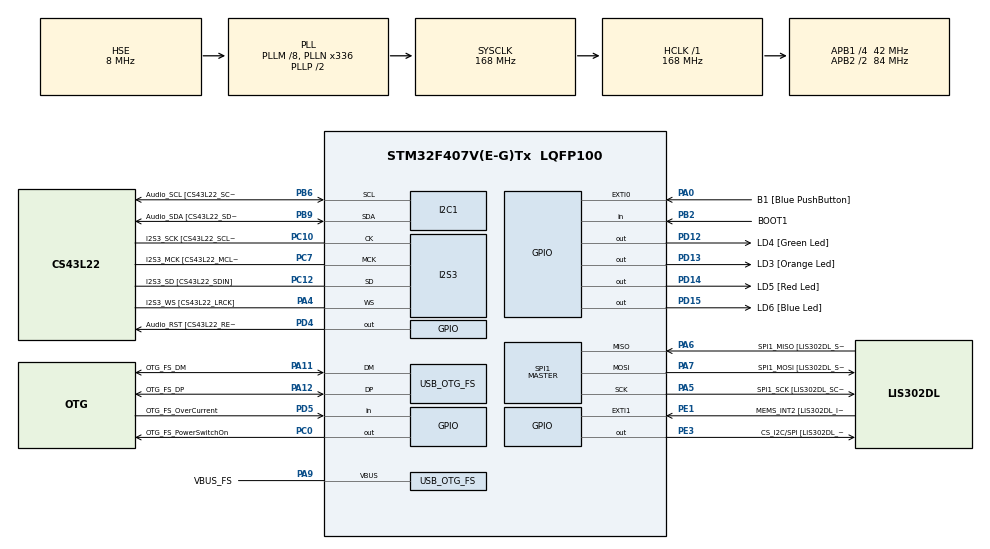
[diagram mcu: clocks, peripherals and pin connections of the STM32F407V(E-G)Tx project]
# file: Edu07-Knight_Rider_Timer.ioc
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I2S3.AudioFreq-Half_Duplex_Master=I2S_AUDIOFREQ_96K
I2S3.ErrorAudioFreq=-2.34 %
I2S3.ErrorAudioFreq-Half_Duplex_Master=0.8 %
I2S3.FullDuplexMode=I2S_FULLDUPLEXMODE_DISABLE
I2S3.Instance=SPI$Index
I2S3.RealAudioFreq=93.75 KHz
I2S3.RealAudioFreq-Half_Duplex_Master=96.774 KHz
I2S3.VirtualMode=I2S_MODE_MASTER
Mcu.Family=STM32F4
Mcu.Name=STM32F407V(E-G)Tx
Mcu.Package=LQFP100
NVIC.OTG_FS_IRQn=true\:0\:0\:false\:false\:true\:true\:true\:true
NVIC.PriorityGroup=NVIC_PRIORITYGROUP_0
NVIC.TIM1_UP_TIM10_IRQn=true\:0\:0\:false\:false\:true\:true\:true\:true
PA0-WKUP.GPIO_Label=B1 [Blue PushButton]
PA0-WKUP.GPIO_ModeDefaultEXTI=GPIO_MODE_EVT_RISING
PA0-WKUP.GPIO_PuPd=GPIO_NOPULL
PA0-WKUP.Signal=GPXTI0
PA10.GPIO_Label=OTG_FS_ID
PA10.GPIO_Mode=GPIO_MODE_AF_PP
PA10.GPIO_PuPd=GPIO_NOPULL
PA10.GPIO_Speed=GPIO_SPEED_FREQ_LOW
PA10.Signal=USB_OTG_FS_ID
PA11.GPIO_Label=OTG_FS_DM
PA11.GPIO_Mode=GPIO_MODE_AF_PP
PA11.GPIO_PuPd=GPIO_NOPULL
PA11.GPIO_Speed=GPIO_SPEED_FREQ_LOW
PA11.Mode=Host_Only
PA11.Signal=USB_OTG_FS_DM
PA12.GPIO_Label=OTG_FS_DP
PA12.GPIO_Mode=GPIO_MODE_AF_PP
PA12.GPIO_PuPd=GPIO_NOPULL
PA12.GPIO_Speed=GPIO_SPEED_FREQ_LOW
PA12.Mode=Host_Only
PA12.Signal=USB_OTG_FS_DP
PA13.GPIO_Label=SWDIO
PA13.Mode=Serial_Wire
PA13.Signal=SYS_JTMS-SWDIO
PA14.GPIO_Label=SWCLK
PA14.Mode=Serial_Wire
PA14.Signal=SYS_JTCK-SWCLK
PA4.GPIO_Label=I2S3_WS [CS43L22_LRCK]
PA4.GPIO_Mode=GPIO_MODE_AF_PP
PA4.GPIO_PuPd=GPIO_NOPULL
PA4.GPIO_Speed=GPIO_SPEED_FREQ_LOW
PA4.Mode=Half_Duplex_Master
PA4.Signal=I2S3_WS
PA5.GPIO_Label=SPI1_SCK [LIS302DL_SCL/SPC]
PA5.GPIO_Mode=GPIO_MODE_AF_PP
PA5.GPIO_PuPd=GPIO_NOPULL
PA5.GPIO_Speed=GPIO_SPEED_FREQ_LOW
PA5.Mode=Full_Duplex_Master
PA5.Signal=SPI1_SCK
PA6.GPIO_Label=SPI1_MISO [LIS302DL_SDO]
PA6.GPIO_Mode=GPIO_MODE_AF_PP
PA6.GPIO_PuPd=GPIO_NOPULL
PA6.GPIO_Speed=GPIO_SPEED_FREQ_LOW
PA6.Mode=Full_Duplex_Master
PA6.Signal=SPI1_MISO
PA7.GPIO_Label=SPI1_MOSI [LIS302DL_SDA/SDI/SDO]
PA7.GPIO_Mode=GPIO_MODE_AF_PP
PA7.GPIO_PuPd=GPIO_NOPULL
PA7.GPIO_Speed=GPIO_SPEED_FREQ_LOW
PA7.Mode=Full_Duplex_Master
PA7.Signal=SPI1_MOSI
PA9.GPIO_Label=VBUS_FS
PA9.GPIO_Mode=GPIO_MODE_INPUT
PA9.GPIO_PuPd=GPIO_NOPULL
PA9.Mode=Activate_VBUS
PA9.Signal=USB_OTG_FS_VBUS
PB10.GPIO_Label=CLK_IN [MP45DT02_CLK]
PB10.GPIO_Mode=GPIO_MODE_AF_PP
PB10.GPIO_PuPd=GPIO_NOPULL
PB10.GPIO_Speed=GPIO_SPEED_FREQ_LOW
PB10.Signal=I2S2_CK
PB2.GPIO_Label=BOOT1
PB2.GPIO_Mode=GPIO_MODE_INPUT
PB2.GPIO_PuPd=GPIO_NOPULL
PB2.Signal=GPIO_Input
PB3.GPIO_Label=SWO
PB3.Signal=SYS_JTDO-SWO
PB6.GPIO_Label=Audio_SCL [CS43L22_SCL]
PB6.GPIO_Mode=GPIO_MODE_AF_OD
PB6.GPIO_Pu=GPIO_PULLUP
PB6.GPIO_PuPd=GPIO_NOPULL
PB6.GPIO_Speed=GPIO_SPEED_FREQ_LOW
PB6.Mode=I2C
PB6.Signal=I2C1_SCL
PB9.GPIO_Label=Audio_SDA [CS43L22_SDA]
PB9.GPIO_Mode=GPIO_MODE_AF_OD
PB9.GPIO_Pu=GPIO_PULLUP
PB9.GPIO_PuPd=GPIO_NOPULL
PB9.GPIO_Speed=GPIO_SPEED_FREQ_LOW
PB9.Mode=I2C
PB9.Signal=I2C1_SDA
PC0.GPIO_Label=OTG_FS_PowerSwitchOn
PC0.GPIO_PuPd=GPIO_NOPULL
PC0.GPIO_Speed=GPIO_SPEED_FREQ_LOW
PC0.PinState=GPIO_PIN_SET
PC0.Signal=GPIO_Output
PC10.GPIO_Label=I2S3_SCK [CS43L22_SCLK]
PC10.GPIO_Mode=GPIO_MODE_AF_PP
PC10.GPIO_PuPd=GPIO_NOPULL
PC10.GPIO_Speed=GPIO_SPEED_FREQ_LOW
PC10.Mode=Half_Duplex_Master
PC10.Signal=I2S3_CK
PC12.GPIO_Label=I2S3_SD [CS43L22_SDIN]
PC12.GPIO_Mode=GPIO_MODE_AF_PP
PC12.GPIO_PuPd=GPIO_NOPULL
PC12.GPIO_Speed=GPIO_SPEED_FREQ_LOW
PC12.Mode=Half_Duplex_Master
PC12.Signal=I2S3_SD
PC14-OSC32_IN.GPIO_Label=PC14-OSC32_IN
PC14-OSC32_IN.Mode=LSE-External-Oscillator
PC14-OSC32_IN.Signal=RCC_OSC32_IN
PC15-OSC32_OUT.GPIO_Label=PC15-OSC32_OUT
PC15-OSC32_OUT.Mode=LSE-External-Oscillator
PC15-OSC32_OUT.Signal=RCC_OSC32_OUT
PC3.GPIO_Label=PDM_OUT [MP45DT02_DOUT]
PC3.GPIO_Mode=GPIO_MODE_AF_PP
PC3.GPIO_PuPd=GPIO_NOPULL
PC3.GPIO_Speed=GPIO_SPEED_FREQ_LOW
PC3.Signal=I2S2_SD
PC7.GPIO_Label=I2S3_MCK [CS43L22_MCLK]
PC7.GPIO_Mode=GPIO_MODE_AF_PP
PC7.GPIO_PuPd=GPIO_NOPULL
PC7.GPIO_Speed=GPIO_SPEED_FREQ_LOW
PC7.Mode=Master_Clock_Activated
PC7.Signal=I2S3_MCK
PD12.GPIO_Label=LD4 [Green Led]
PD12.GPIO_PuPd=GPIO_NOPULL
PD12.GPIO_Speed=GPIO_SPEED_FREQ_LOW
PD12.Signal=GPIO_Output
PD13.GPIO_Label=LD3 [Orange Led]
PD13.GPIO_PuPd=GPIO_NOPULL
PD13.GPIO_Speed=GPIO_SPEED_FREQ_LOW
PD13.Signal=GPIO_Output
PD14.GPIO_Label=LD5 [Red Led]
PD14.GPIO_PuPd=GPIO_NOPULL
PD14.GPIO_Speed=GPIO_SPEED_FREQ_LOW
PD14.Signal=GPIO_Output
PD15.GPIO_Label=LD6 [Blue Led]
PD15.GPIO_PuPd=GPIO_NOPULL
PD15.GPIO_Speed=GPIO_SPEED_FREQ_LOW
PD15.Signal=GPIO_Output
PD4.GPIO_Label=Audio_RST [CS43L22_RESET]
PD4.GPIO_PuPd=GPIO_NOPULL
PD4.GPIO_Speed=GPIO_SPEED_FREQ_LOW
PD4.Signal=GPIO_Output
PD5.GPIO_Label=OTG_FS_OverCurrent
PD5.GPIO_Mode=GPIO_MODE_INPUT
PD5.GPIO_PuPd=GPIO_NOPULL
PD5.Signal=GPIO_Input
PE1.GPIO_Label=MEMS_INT2 [LIS302DL_INT2]
PE1.GPIO_ModeDefaultEXTI=GPIO_MODE_EVT_RISING
PE1.GPIO_PuPd=GPIO_NOPULL
PE1.Signal=GPXTI1
PE3.GPIO_Label=CS_I2C/SPI [LIS302DL_CS_I2C/SPI]
PE3.GPIO_PuPd=GPIO_NOPULL
PE3.GPIO_Speed=GPIO_SPEED_FREQ_LOW
PE3.Signal=GPIO_Output
PH0-OSC_IN.GPIO_Label=PH0-OSC_IN
PH0-OSC_IN.Mode=HSE-External-Oscillator
PH0-OSC_IN.Signal=RCC_OSC_IN
PH1-OSC_OUT.GPIO_Label=PH1-OSC_OUT
PH1-OSC_OUT.Mode=HSE-External-Oscillator
PH1-OSC_OUT.Signal=RCC_OSC_OUT
ProjectManager.HeapSize=0x200
ProjectManager.StackSize=0x400
ProjectManager.TargetToolchain=STM32CubeIDE
RCC.48MHZClocksFreq_Value=48000000
RCC.AHBFreq_Value=168000000
RCC.APB1CLKDivider=RCC_HCLK_DIV4
RCC.APB1Freq_Value=42000000
RCC.APB1TimFreq_Value=84000000
RCC.APB2CLKDivider=RCC_HCLK_DIV2
RCC.APB2Freq_Value=84000000
RCC.APB2TimFreq_Value=168000000
RCC.CortexFreq_Value=168000000
RCC.HCLKFreq_Value=168000000
RCC.HSE_VALUE=8000000
RCC.HSI_VALUE=16000000
RCC.PLLM=8
RCC.PLLN=336
RCC.PLLQ=7
RCC.SYSCLKFreq_VALUE=168000000
RCC.SYSCLKSource=RCC_SYSCLKSOURCE_PLLCLK
RCC.VCOOutputFreq_Value=336000000
SPI1.BaudRatePrescaler-Full_Duplex_Master=SPI_BAUDRATEPRESCALER_2
SPI1.CalculateBaudRate-Full_Duplex_Master=42.0 MBits/s
SPI1.Direction=SPI_DIRECTION_2LINES
SPI1.Mode=SPI_MODE_MASTER
SPI1.Mode-Full_Duplex_Master=SPI_MODE_MASTER
SPI1.VirtualType=VM_MASTER
TIM1.Period=1999
TIM1.Prescaler=16799
USB_HOST.BSP.number=1
USB_HOST.USBH_HandleTypeDef-CDC_FS=hUsbHostFS
USB_HOST.VirtualModeFS=Cdc
USB_HOST0.BSP.STBoard=false
USB_HOST0.BSP.api=Unknown
USB_HOST0.BSP.instance=PC0
USB_HOST0.BSP.ip=GPIO
USB_HOST0.BSP.mode=Output
USB_HOST0.BSP.name=Drive_VBUS_FS
USB_HOST0.BSP.solution=PC0
USB_OTG_FS.VirtualMode=Host_Only
USB_OTG_FS.phy_itface=HCD_PHY_EMBEDDED
VP_TIM1_VS_ClockSourceINT.Mode=Internal
VP_USB_HOST_VS_USB_HOST_CDC_FS.Mode=CDC_FS
board=STM32F407G-DISC1

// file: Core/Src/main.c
/* USER CODE BEGIN Header */
/**
  ******************************************************************************
  * @file           : main.c
  * @brief          : Main program body
  ******************************************************************************
  * @attention
  *
  * Copyright (c) 2026 STMicroelectronics.
  * All rights reserved.
  *
  * This software is licensed under terms that can be found in the LICENSE file
  * in the root directory of this software component.
  * If no LICENSE file comes with this software, it is provided AS-IS.
  *
  ******************************************************************************
  */
/* USER CODE END Header */
#include "main.h"
#include "usb_host.h"

I2C_HandleTypeDef hi2c1;

I2S_HandleTypeDef hi2s3;

SPI_HandleTypeDef hspi1;

TIM_HandleTypeDef htim1;

/* USER CODE BEGIN PV */
uint16_t ledPins[4] = {
  GPIO_PIN_12,
  GPIO_PIN_13,
  GPIO_PIN_14,
  GPIO_PIN_15
};

volatile int8_t currentLedIndex = 0;
volatile int8_t ledDirection = 1;
volatile uint32_t knightRiderStepCount = 0;
/* USER CODE END PV */

void SystemClock_Config(void);
static void MX_GPIO_Init(void);
static void MX_I2C1_Init(void);
static void MX_I2S3_Init(void);
static void MX_SPI1_Init(void);
static void MX_TIM1_Init(void);
void MX_USB_HOST_Process(void);

int main(void)
{

  /* MCU Configuration--------------------------------------------------------*/

  /* Reset of all peripherals, Initializes the Flash interface and the Systick. */
  HAL_Init();

  /* Configure the system clock */
  SystemClock_Config();

  /* Initialize all configured peripherals */
  MX_GPIO_Init();
  MX_I2C1_Init();
  MX_I2S3_Init();
  MX_SPI1_Init();
  MX_USB_HOST_Init();
  MX_TIM1_Init();
  /* USER CODE BEGIN 2 */
  HAL_GPIO_WritePin(GPIOD, GPIO_PIN_12 | GPIO_PIN_13 | GPIO_PIN_14 | GPIO_PIN_15, GPIO_PIN_RESET);

  HAL_GPIO_WritePin(GPIOD, ledPins[currentLedIndex], GPIO_PIN_SET);

  if (HAL_TIM_Base_Start_IT(&htim1) != HAL_OK)
  {
    Error_Handler();
  }

  /* USER CODE END 2 */

  /* Infinite loop */
  while (1)
  {
    MX_USB_HOST_Process();

  }
}

void SystemClock_Config(void)
{
  RCC_OscInitTypeDef RCC_OscInitStruct = {0};
  RCC_ClkInitTypeDef RCC_ClkInitStruct = {0};

  /** Configure the main internal regulator output voltage
  */
  __HAL_RCC_PWR_CLK_ENABLE();
  __HAL_PWR_VOLTAGESCALING_CONFIG(PWR_REGULATOR_VOLTAGE_SCALE1);

  /** Initializes the RCC Oscillators according to the specified parameters
  * in the RCC_OscInitTypeDef structure.
  */
  RCC_OscInitStruct.OscillatorType = RCC_OSCILLATORTYPE_HSE;
  RCC_OscInitStruct.HSEState = RCC_HSE_ON;
  RCC_OscInitStruct.PLL.PLLState = RCC_PLL_ON;
  RCC_OscInitStruct.PLL.PLLSource = RCC_PLLSOURCE_HSE;
  RCC_OscInitStruct.PLL.PLLM = 8;
  RCC_OscInitStruct.PLL.PLLN = 336;
  RCC_OscInitStruct.PLL.PLLP = RCC_PLLP_DIV2;
  RCC_OscInitStruct.PLL.PLLQ = 7;
  if (HAL_RCC_OscConfig(&RCC_OscInitStruct) != HAL_OK)
  {
    Error_Handler();
  }

  /** Initializes the CPU, AHB and APB buses clocks
  */
  RCC_ClkInitStruct.ClockType = RCC_CLOCKTYPE_HCLK|RCC_CLOCKTYPE_SYSCLK
                              |RCC_CLOCKTYPE_PCLK1|RCC_CLOCKTYPE_PCLK2;
  RCC_ClkInitStruct.SYSCLKSource = RCC_SYSCLKSOURCE_PLLCLK;
  RCC_ClkInitStruct.AHBCLKDivider = RCC_SYSCLK_DIV1;
  RCC_ClkInitStruct.APB1CLKDivider = RCC_HCLK_DIV4;
  RCC_ClkInitStruct.APB2CLKDivider = RCC_HCLK_DIV2;

  if (HAL_RCC_ClockConfig(&RCC_ClkInitStruct, FLASH_LATENCY_5) != HAL_OK)
  {
    Error_Handler();
  }
}

static void MX_I2C1_Init(void)
{

  hi2c1.Instance = I2C1;
  hi2c1.Init.ClockSpeed = 100000;
  hi2c1.Init.DutyCycle = I2C_DUTYCYCLE_2;
  hi2c1.Init.OwnAddress1 = 0;
  hi2c1.Init.AddressingMode = I2C_ADDRESSINGMODE_7BIT;
  hi2c1.Init.DualAddressMode = I2C_DUALADDRESS_DISABLE;
  hi2c1.Init.OwnAddress2 = 0;
  hi2c1.Init.GeneralCallMode = I2C_GENERALCALL_DISABLE;
  hi2c1.Init.NoStretchMode = I2C_NOSTRETCH_DISABLE;
  if (HAL_I2C_Init(&hi2c1) != HAL_OK)
  {
    Error_Handler();
  }

}

static void MX_I2S3_Init(void)
{

  hi2s3.Instance = SPI3;
  hi2s3.Init.Mode = I2S_MODE_MASTER_TX;
  hi2s3.Init.Standard = I2S_STANDARD_PHILIPS;
  hi2s3.Init.DataFormat = I2S_DATAFORMAT_16B;
  hi2s3.Init.MCLKOutput = I2S_MCLKOUTPUT_ENABLE;
  hi2s3.Init.AudioFreq = I2S_AUDIOFREQ_96K;
  hi2s3.Init.CPOL = I2S_CPOL_LOW;
  hi2s3.Init.ClockSource = I2S_CLOCK_PLL;
  hi2s3.Init.FullDuplexMode = I2S_FULLDUPLEXMODE_DISABLE;
  if (HAL_I2S_Init(&hi2s3) != HAL_OK)
  {
    Error_Handler();
  }

}

static void MX_SPI1_Init(void)
{

  /* SPI1 parameter configuration*/
  hspi1.Instance = SPI1;
  hspi1.Init.Mode = SPI_MODE_MASTER;
  hspi1.Init.Direction = SPI_DIRECTION_2LINES;
  hspi1.Init.DataSize = SPI_DATASIZE_8BIT;
  hspi1.Init.CLKPolarity = SPI_POLARITY_LOW;
  hspi1.Init.CLKPhase = SPI_PHASE_1EDGE;
  hspi1.Init.NSS = SPI_NSS_SOFT;
  hspi1.Init.BaudRatePrescaler = SPI_BAUDRATEPRESCALER_2;
  hspi1.Init.FirstBit = SPI_FIRSTBIT_MSB;
  hspi1.Init.TIMode = SPI_TIMODE_DISABLE;
  hspi1.Init.CRCCalculation = SPI_CRCCALCULATION_DISABLE;
  hspi1.Init.CRCPolynomial = 10;
  if (HAL_SPI_Init(&hspi1) != HAL_OK)
  {
    Error_Handler();
  }

}

static void MX_TIM1_Init(void)
{

  TIM_ClockConfigTypeDef sClockSourceConfig = {0};
  TIM_MasterConfigTypeDef sMasterConfig = {0};

  htim1.Instance = TIM1;
  htim1.Init.Prescaler = 16799;
  htim1.Init.CounterMode = TIM_COUNTERMODE_UP;
  htim1.Init.Period = 1999;
  htim1.Init.ClockDivision = TIM_CLOCKDIVISION_DIV1;
  htim1.Init.RepetitionCounter = 0;
  htim1.Init.AutoReloadPreload = TIM_AUTORELOAD_PRELOAD_DISABLE;
  if (HAL_TIM_Base_Init(&htim1) != HAL_OK)
  {
    Error_Handler();
  }
  sClockSourceConfig.ClockSource = TIM_CLOCKSOURCE_INTERNAL;
  if (HAL_TIM_ConfigClockSource(&htim1, &sClockSourceConfig) != HAL_OK)
  {
    Error_Handler();
  }
  sMasterConfig.MasterOutputTrigger = TIM_TRGO_RESET;
  sMasterConfig.MasterSlaveMode = TIM_MASTERSLAVEMODE_DISABLE;
  if (HAL_TIMEx_MasterConfigSynchronization(&htim1, &sMasterConfig) != HAL_OK)
  {
    Error_Handler();
  }

}

static void MX_GPIO_Init(void)
{
  GPIO_InitTypeDef GPIO_InitStruct = {0};

  /* GPIO Ports Clock Enable */
  __HAL_RCC_GPIOE_CLK_ENABLE();
  __HAL_RCC_GPIOC_CLK_ENABLE();
  __HAL_RCC_GPIOH_CLK_ENABLE();
  __HAL_RCC_GPIOA_CLK_ENABLE();
  __HAL_RCC_GPIOB_CLK_ENABLE();
  __HAL_RCC_GPIOD_CLK_ENABLE();

  /*Configure GPIO pin Output Level */
  HAL_GPIO_WritePin(CS_I2C_SPI_GPIO_Port, CS_I2C_SPI_Pin, GPIO_PIN_RESET);

  /*Configure GPIO pin Output Level */
  HAL_GPIO_WritePin(OTG_FS_PowerSwitchOn_GPIO_Port, OTG_FS_PowerSwitchOn_Pin, GPIO_PIN_SET);

  /*Configure GPIO pin Output Level */
  HAL_GPIO_WritePin(GPIOD, LD4_Pin|LD3_Pin|LD5_Pin|LD6_Pin
                          |Audio_RST_Pin, GPIO_PIN_RESET);

  /*Configure GPIO pin : CS_I2C_SPI_Pin */
  GPIO_InitStruct.Pin = CS_I2C_SPI_Pin;
  GPIO_InitStruct.Mode = GPIO_MODE_OUTPUT_PP;
  GPIO_InitStruct.Pull = GPIO_NOPULL;
  GPIO_InitStruct.Speed = GPIO_SPEED_FREQ_LOW;
  HAL_GPIO_Init(CS_I2C_SPI_GPIO_Port, &GPIO_InitStruct);

  /*Configure GPIO pin : OTG_FS_PowerSwitchOn_Pin */
  GPIO_InitStruct.Pin = OTG_FS_PowerSwitchOn_Pin;
  GPIO_InitStruct.Mode = GPIO_MODE_OUTPUT_PP;
  GPIO_InitStruct.Pull = GPIO_NOPULL;
  GPIO_InitStruct.Speed = GPIO_SPEED_FREQ_LOW;
  HAL_GPIO_Init(OTG_FS_PowerSwitchOn_GPIO_Port, &GPIO_InitStruct);

  /*Configure GPIO pin : PDM_OUT_Pin */
  GPIO_InitStruct.Pin = PDM_OUT_Pin;
  GPIO_InitStruct.Mode = GPIO_MODE_AF_PP;
  GPIO_InitStruct.Pull = GPIO_NOPULL;
  GPIO_InitStruct.Speed = GPIO_SPEED_FREQ_LOW;
  GPIO_InitStruct.Alternate = GPIO_AF5_SPI2;
  HAL_GPIO_Init(PDM_OUT_GPIO_Port, &GPIO_InitStruct);

  /*Configure GPIO pin : B1_Pin */
  GPIO_InitStruct.Pin = B1_Pin;
  GPIO_InitStruct.Mode = GPIO_MODE_EVT_RISING;
  GPIO_InitStruct.Pull = GPIO_NOPULL;
  HAL_GPIO_Init(B1_GPIO_Port, &GPIO_InitStruct);

  /*Configure GPIO pin : BOOT1_Pin */
  GPIO_InitStruct.Pin = BOOT1_Pin;
  GPIO_InitStruct.Mode = GPIO_MODE_INPUT;
  GPIO_InitStruct.Pull = GPIO_NOPULL;
  HAL_GPIO_Init(BOOT1_GPIO_Port, &GPIO_InitStruct);

  /*Configure GPIO pin : CLK_IN_Pin */
  GPIO_InitStruct.Pin = CLK_IN_Pin;
  GPIO_InitStruct.Mode = GPIO_MODE_AF_PP;
  GPIO_InitStruct.Pull = GPIO_NOPULL;
  GPIO_InitStruct.Speed = GPIO_SPEED_FREQ_LOW;
  GPIO_InitStruct.Alternate = GPIO_AF5_SPI2;
  HAL_GPIO_Init(CLK_IN_GPIO_Port, &GPIO_InitStruct);

  /*Configure GPIO pins : LD4_Pin LD3_Pin LD5_Pin LD6_Pin
                           Audio_RST_Pin */
  GPIO_InitStruct.Pin = LD4_Pin|LD3_Pin|LD5_Pin|LD6_Pin
                          |Audio_RST_Pin;
  GPIO_InitStruct.Mode = GPIO_MODE_OUTPUT_PP;
  GPIO_InitStruct.Pull = GPIO_NOPULL;
  GPIO_InitStruct.Speed = GPIO_SPEED_FREQ_LOW;
  HAL_GPIO_Init(GPIOD, &GPIO_InitStruct);

  /*Configure GPIO pin : OTG_FS_OverCurrent_Pin */
  GPIO_InitStruct.Pin = OTG_FS_OverCurrent_Pin;
  GPIO_InitStruct.Mode = GPIO_MODE_INPUT;
  GPIO_InitStruct.Pull = GPIO_NOPULL;
  HAL_GPIO_Init(OTG_FS_OverCurrent_GPIO_Port, &GPIO_InitStruct);

  /*Configure GPIO pin : MEMS_INT2_Pin */
  GPIO_InitStruct.Pin = MEMS_INT2_Pin;
  GPIO_InitStruct.Mode = GPIO_MODE_EVT_RISING;
  GPIO_InitStruct.Pull = GPIO_NOPULL;
  HAL_GPIO_Init(MEMS_INT2_GPIO_Port, &GPIO_InitStruct);

}

/* USER CODE BEGIN 4 */
void HAL_TIM_PeriodElapsedCallback(TIM_HandleTypeDef *htim)
{
  if (htim->Instance == TIM1)
  {
    HAL_GPIO_WritePin(GPIOD, ledPins[currentLedIndex], GPIO_PIN_RESET);

    currentLedIndex += ledDirection;

    if (currentLedIndex >= 3)
    {
      currentLedIndex = 3;
      ledDirection = -1;
    }
    else if (currentLedIndex <= 0)
    {
      currentLedIndex = 0;
      ledDirection = 1;
    }

    HAL_GPIO_WritePin(GPIOD, ledPins[currentLedIndex], GPIO_PIN_SET);

    knightRiderStepCount++;
  }
}
/* USER CODE END 4 */

void Error_Handler(void)
{
  __disable_irq();
  while (1)
  {
  }
}
